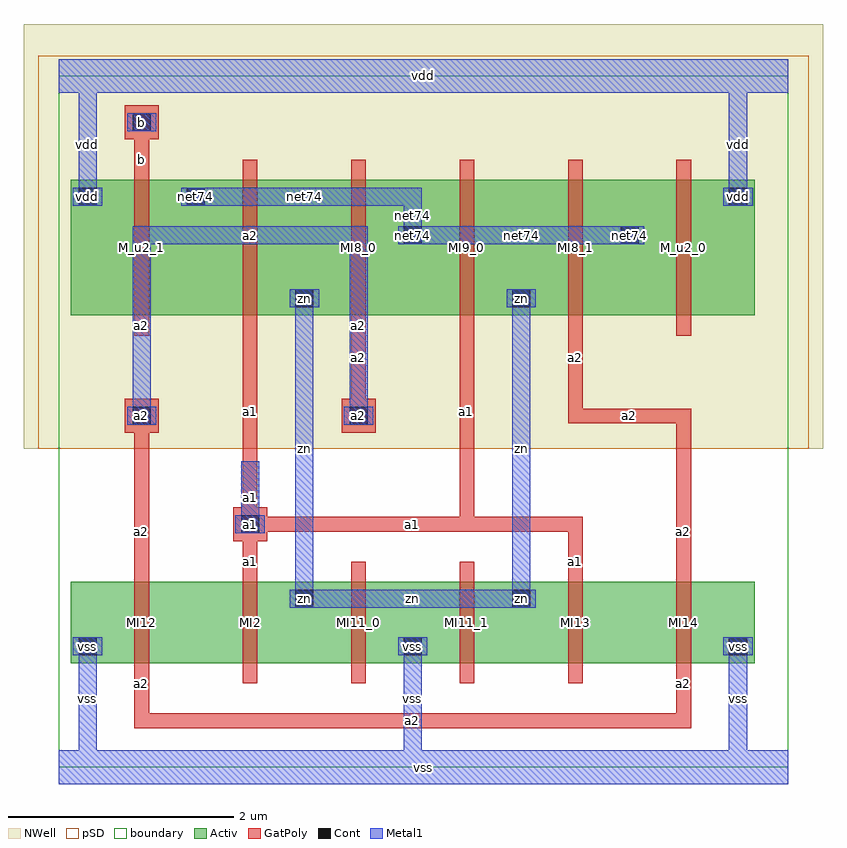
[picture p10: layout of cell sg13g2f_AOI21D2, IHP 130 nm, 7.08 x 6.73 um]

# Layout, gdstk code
import gdstk
lib = gdstk.Library(unit=1e-6, precision=1e-09)
def R(c, l, rs):  # rectangles x0, y0, x1, y1
    for r in rs: c.add(gdstk.rectangle(r[:2], r[2:], *l))
def A(c, l, x, y, w, h, nx, ny, dx, dy):  # array of equal rectangles
    R(c, l, [(x+i*dx, y+j*dy, x+i*dx+w, y+j*dy+h) for i in range(nx) for j in range(ny)])
Activ = (1, 0)
GatPoly = (5, 0)
Cont = (6, 0)
Metal1 = (8, 0)
pSD = (14, 0)
NWell = (31, 0)
TEXT = (63, 0)
boundary = (189, 4)

sg13g2f_aoi21d2 = lib.new_cell('sg13g2f_AOI21D2')
A(sg13g2f_aoi21d2, Activ, 0.105, 0.92, 1.26, 0.72, 6, 1, 0.96, 0)
A(sg13g2f_aoi21d2, Activ, 0.105, 0.92, 0.3, 0.3, 3, 1, 2.88, 0)
A(sg13g2f_aoi21d2, Activ, 0.105, 4, 1.26, 1.2, 6, 1, 0.96, 0)
R(sg13g2f_aoi21d2, Activ, [(2.025,1.34,2.325,1.64), (3.945,1.34,4.245,1.64), (2.025,4,2.325,4.3), (3.945,4,4.245,4.3), (2.985,4.56,3.285,4.86), (4.905,4.56,5.205,4.86), (0.105,4.9,0.405,5.2), (1.065,4.9,1.365,5.2), (5.865,4.9,6.165,5.2)])
A(sg13g2f_aoi21d2, GatPoly, 0.67, 0.74, 0.13, 1.08, 6, 1, 0.96, 0)
A(sg13g2f_aoi21d2, GatPoly, 0.67, 3.82, 0.13, 1.56, 6, 1, 0.96, 0)
R(sg13g2f_aoi21d2, GatPoly, [(0.67,0.345,0.8,1.135), (0.67,0.345,5.6,0.475), (5.47,0.345,5.6,1.135), (0.67,1.005,0.8,3.175), (5.47,1.005,5.6,3.175), (1.63,1.425,1.76,2.215), (4.51,1.425,4.64,2.215), (1.545,2,1.845,2.3), (1.63,2.085,4.64,2.215), (1.63,2.085,1.76,4.215), (3.55,2.085,3.68,4.215), (0.585,2.96,0.885,3.26), (2.505,2.96,2.805,3.26), (2.59,3.045,2.72,4.215), (4.51,3.045,4.64,4.215), (4.51,3.045,5.6,3.175), (0.67,4.985,0.8,5.775), (0.585,5.56,0.885,5.86)])
A(sg13g2f_aoi21d2, Cont, 0.175, 0.99, 0.16, 0.16, 3, 1, 2.88, 0)
R(sg13g2f_aoi21d2, Cont, [(2.095,1.41,2.255,1.57), (4.015,1.41,4.175,1.57), (1.615,2.07,1.775,2.23), (0.655,3.03,0.815,3.19), (2.575,3.03,2.735,3.19), (2.095,4.07,2.255,4.23), (4.015,4.07,4.175,4.23), (3.055,4.63,3.215,4.79), (4.975,4.63,5.135,4.79), (0.175,4.97,0.335,5.13), (1.135,4.97,1.295,5.13), (5.935,4.97,6.095,5.13), (0.655,5.63,0.815,5.79)])
A(sg13g2f_aoi21d2, Metal1, 0.175, 0.07, 0.16, 1.08, 3, 1, 2.88, 0)
A(sg13g2f_aoi21d2, Metal1, 0.125, 0.99, 0.26, 0.16, 3, 1, 2.88, 0)
R(sg13g2f_aoi21d2, Metal1, [(0,-0.15,6.46,0.15), (2.045,1.41,2.305,1.57), (2.095,1.41,4.175,1.57), (2.095,1.41,2.255,4.23), (3.965,1.41,4.225,1.57), (4.015,1.41,4.175,4.23), (1.565,2.07,1.825,2.23), (1.615,2.07,1.775,2.71), (0.605,3.03,0.865,3.19), (0.655,3.03,0.815,4.79), (2.525,3.03,2.785,3.19), (2.575,3.03,2.735,4.79), (2.045,4.07,2.305,4.23), (3.965,4.07,4.225,4.23), (0.655,4.63,2.735,4.79), (3.005,4.63,3.265,4.79), (3.055,4.63,5.135,4.79), (3.055,4.63,3.215,5.13), (4.925,4.63,5.185,4.79), (0.125,4.97,0.385,5.13), (0.175,4.97,0.335,6.05), (1.085,4.97,1.345,5.13), (1.135,4.97,3.215,5.13), (5.885,4.97,6.145,5.13), (5.935,4.97,6.095,6.05), (0.605,5.63,0.865,5.79), (0.655,5.63,0.815,5.79), (0,5.97,6.46,6.27)])
R(sg13g2f_aoi21d2, pSD, [(-0.18,2.82,6.64,5.94), (-0.18,5.94,6.64,6.3)])
R(sg13g2f_aoi21d2, NWell, [(-0.31,2.82,6.77,6.58)])
R(sg13g2f_aoi21d2, boundary, [(0,0,6.46,6.12)])
sg13g2f_aoi21d2.add(gdstk.FlexPath([(0.105,0.41),(6.165,0.41)], 0, ends="flush", simple_path=True, layer=63, datatype=0))  # TEXT
sg13g2f_aoi21d2.add(gdstk.FlexPath([(0.105,1.07),(6.165,1.07)], 0, ends="flush", simple_path=True, layer=63, datatype=0))  # TEXT
sg13g2f_aoi21d2.add(gdstk.FlexPath([(0.105,1.49),(6.165,1.49)], 0, ends="flush", simple_path=True, layer=63, datatype=0))  # TEXT
sg13g2f_aoi21d2.add(gdstk.FlexPath([(0.105,2.15),(6.165,2.15)], 0, ends="flush", simple_path=True, layer=63, datatype=0))  # TEXT
sg13g2f_aoi21d2.add(gdstk.FlexPath([(0.105,2.63),(6.165,2.63)], 0, ends="flush", simple_path=True, layer=63, datatype=0))  # TEXT
sg13g2f_aoi21d2.add(gdstk.FlexPath([(0.105,3.11),(6.165,3.11)], 0, ends="flush", simple_path=True, layer=63, datatype=0))  # TEXT
sg13g2f_aoi21d2.add(gdstk.FlexPath([(0.105,4.15),(6.165,4.15)], 0, ends="flush", simple_path=True, layer=63, datatype=0))  # TEXT
sg13g2f_aoi21d2.add(gdstk.FlexPath([(0.105,4.71),(6.165,4.71)], 0, ends="flush", simple_path=True, layer=63, datatype=0))  # TEXT
sg13g2f_aoi21d2.add(gdstk.FlexPath([(0.105,5.05),(6.165,5.05)], 0, ends="flush", simple_path=True, layer=63, datatype=0))  # TEXT
sg13g2f_aoi21d2.add(gdstk.FlexPath([(0.105,5.71),(6.165,5.71)], 0, ends="flush", simple_path=True, layer=63, datatype=0))  # TEXT
sg13g2f_aoi21d2.add(gdstk.FlexPath([(0.255,0.07),(0.255,6.05)], 0, ends="flush", simple_path=True, layer=63, datatype=0))  # TEXT
sg13g2f_aoi21d2.add(gdstk.FlexPath([(0.735,0.07),(0.735,6.05)], 0, ends="flush", simple_path=True, layer=63, datatype=0))  # TEXT
sg13g2f_aoi21d2.add(gdstk.FlexPath([(1.215,0.07),(1.215,6.05)], 0, ends="flush", simple_path=True, layer=63, datatype=0))  # TEXT
sg13g2f_aoi21d2.add(gdstk.FlexPath([(1.695,0.07),(1.695,6.05)], 0, ends="flush", simple_path=True, layer=63, datatype=0))  # TEXT
sg13g2f_aoi21d2.add(gdstk.FlexPath([(2.175,0.07),(2.175,6.05)], 0, ends="flush", simple_path=True, layer=63, datatype=0))  # TEXT
sg13g2f_aoi21d2.add(gdstk.FlexPath([(2.655,0.07),(2.655,6.05)], 0, ends="flush", simple_path=True, layer=63, datatype=0))  # TEXT
sg13g2f_aoi21d2.add(gdstk.FlexPath([(3.135,0.07),(3.135,6.05)], 0, ends="flush", simple_path=True, layer=63, datatype=0))  # TEXT
sg13g2f_aoi21d2.add(gdstk.FlexPath([(3.615,0.07),(3.615,6.05)], 0, ends="flush", simple_path=True, layer=63, datatype=0))  # TEXT
sg13g2f_aoi21d2.add(gdstk.FlexPath([(4.095,0.07),(4.095,6.05)], 0, ends="flush", simple_path=True, layer=63, datatype=0))  # TEXT
sg13g2f_aoi21d2.add(gdstk.FlexPath([(4.575,0.07),(4.575,6.05)], 0, ends="flush", simple_path=True, layer=63, datatype=0))  # TEXT
sg13g2f_aoi21d2.add(gdstk.FlexPath([(5.055,0.07),(5.055,6.05)], 0, ends="flush", simple_path=True, layer=63, datatype=0))  # TEXT
sg13g2f_aoi21d2.add(gdstk.FlexPath([(5.535,0.07),(5.535,6.05)], 0, ends="flush", simple_path=True, layer=63, datatype=0))  # TEXT
sg13g2f_aoi21d2.add(gdstk.FlexPath([(6.015,0.07),(6.015,6.05)], 0, ends="flush", simple_path=True, layer=63, datatype=0))  # TEXT
sg13g2f_aoi21d2.add(gdstk.Label('zn', (2.175,1.49), layer=6, texttype=0))
sg13g2f_aoi21d2.add(gdstk.Label('zn', (4.095,1.49), layer=6, texttype=0))
sg13g2f_aoi21d2.add(gdstk.Label('zn', (2.175,4.15), layer=6, texttype=0))
sg13g2f_aoi21d2.add(gdstk.Label('zn', (4.095,4.15), layer=6, texttype=0))
sg13g2f_aoi21d2.add(gdstk.Label('a1', (1.695,2.15), layer=6, texttype=0))
sg13g2f_aoi21d2.add(gdstk.Label('a2', (0.735,3.11), layer=6, texttype=0))
sg13g2f_aoi21d2.add(gdstk.Label('a2', (2.655,3.11), layer=6, texttype=0))
sg13g2f_aoi21d2.add(gdstk.Label('b', (0.735,5.71), layer=6, texttype=0))
sg13g2f_aoi21d2.add(gdstk.Label('net74', (3.135,4.71), layer=6, texttype=0))
sg13g2f_aoi21d2.add(gdstk.Label('net74', (5.055,4.71), layer=6, texttype=0))
sg13g2f_aoi21d2.add(gdstk.Label('net74', (1.215,5.05), layer=6, texttype=0))
sg13g2f_aoi21d2.add(gdstk.Label('vss', (0.255,1.07), layer=6, texttype=0))
sg13g2f_aoi21d2.add(gdstk.Label('vss', (6.015,1.07), layer=6, texttype=0))
sg13g2f_aoi21d2.add(gdstk.Label('vss', (3.135,1.07), layer=6, texttype=0))
sg13g2f_aoi21d2.add(gdstk.Label('vdd', (6.015,5.05), layer=6, texttype=0))
sg13g2f_aoi21d2.add(gdstk.Label('vdd', (0.255,5.05), layer=6, texttype=0))
sg13g2f_aoi21d2.add(gdstk.Label('net74', (3.135,4.71), layer=8, texttype=0))
sg13g2f_aoi21d2.add(gdstk.Label('net74', (5.055,4.71), layer=8, texttype=0))
sg13g2f_aoi21d2.add(gdstk.Label('net74', (1.215,5.05), layer=8, texttype=0))
sg13g2f_aoi21d2.add(gdstk.Label('net74', (4.095,4.71), layer=8, texttype=0))
sg13g2f_aoi21d2.add(gdstk.Label('net74', (3.135,4.88), layer=8, texttype=0))
sg13g2f_aoi21d2.add(gdstk.Label('net74', (2.175,5.05), layer=8, texttype=0))
sg13g2f_aoi21d2.add(gdstk.Label('vss', (0.255,1.07), layer=8, texttype=0))
sg13g2f_aoi21d2.add(gdstk.Label('vss', (0.255,0.61), layer=8, texttype=0))
sg13g2f_aoi21d2.add(gdstk.Label('vss', (6.015,1.07), layer=8, texttype=0))
sg13g2f_aoi21d2.add(gdstk.Label('vss', (6.015,0.61), layer=8, texttype=0))
sg13g2f_aoi21d2.add(gdstk.Label('vss', (3.135,1.07), layer=8, texttype=0))
sg13g2f_aoi21d2.add(gdstk.Label('vss', (3.135,0.61), layer=8, texttype=0))
sg13g2f_aoi21d2.add(gdstk.Label('vdd', (6.015,5.05), layer=8, texttype=0))
sg13g2f_aoi21d2.add(gdstk.Label('vdd', (6.015,5.51), layer=8, texttype=0))
sg13g2f_aoi21d2.add(gdstk.Label('vdd', (0.255,5.05), layer=8, texttype=0))
sg13g2f_aoi21d2.add(gdstk.Label('vdd', (0.255,5.51), layer=8, texttype=0))
sg13g2f_aoi21d2.add(gdstk.Label('zn', (2.175,1.49), layer=8, texttype=2))
sg13g2f_aoi21d2.add(gdstk.Label('zn', (4.095,1.49), layer=8, texttype=2))
sg13g2f_aoi21d2.add(gdstk.Label('zn', (2.175,4.15), layer=8, texttype=2))
sg13g2f_aoi21d2.add(gdstk.Label('zn', (4.095,4.15), layer=8, texttype=2))
sg13g2f_aoi21d2.add(gdstk.Label('zn', (3.135,1.49), layer=8, texttype=2))
sg13g2f_aoi21d2.add(gdstk.Label('zn', (2.175,2.82), layer=8, texttype=2))
sg13g2f_aoi21d2.add(gdstk.Label('zn', (4.095,2.82), layer=8, texttype=2))
sg13g2f_aoi21d2.add(gdstk.Label('a1', (1.695,2.15), layer=8, texttype=2))
sg13g2f_aoi21d2.add(gdstk.Label('a1', (1.695,2.39), layer=8, texttype=2))
sg13g2f_aoi21d2.add(gdstk.Label('a2', (0.735,3.11), layer=8, texttype=2))
sg13g2f_aoi21d2.add(gdstk.Label('a2', (0.735,3.91), layer=8, texttype=2))
sg13g2f_aoi21d2.add(gdstk.Label('a2', (1.695,4.71), layer=8, texttype=2))
sg13g2f_aoi21d2.add(gdstk.Label('a2', (2.655,3.91), layer=8, texttype=2))
sg13g2f_aoi21d2.add(gdstk.Label('a2', (2.655,3.11), layer=8, texttype=2))
sg13g2f_aoi21d2.add(gdstk.Label('b', (0.735,5.71), layer=8, texttype=2))
sg13g2f_aoi21d2.add(gdstk.Label('b', (0.735,5.71), layer=8, texttype=2))
sg13g2f_aoi21d2.add(gdstk.Label('vss', (3.23,0), layer=8, texttype=2))
sg13g2f_aoi21d2.add(gdstk.Label('vdd', (3.23,6.12), layer=8, texttype=2))
sg13g2f_aoi21d2.add(gdstk.Label('zn', (2.175,1.49), layer=8, texttype=2))
sg13g2f_aoi21d2.add(gdstk.Label('zn', (4.095,1.49), layer=8, texttype=2))
sg13g2f_aoi21d2.add(gdstk.Label('zn', (2.175,4.15), layer=8, texttype=2))
sg13g2f_aoi21d2.add(gdstk.Label('zn', (4.095,4.15), layer=8, texttype=2))
sg13g2f_aoi21d2.add(gdstk.Label('zn', (3.135,1.49), layer=8, texttype=2))
sg13g2f_aoi21d2.add(gdstk.Label('zn', (2.175,2.82), layer=8, texttype=2))
sg13g2f_aoi21d2.add(gdstk.Label('zn', (4.095,2.82), layer=8, texttype=2))
sg13g2f_aoi21d2.add(gdstk.Label('a1', (1.695,2.15), layer=8, texttype=2))
sg13g2f_aoi21d2.add(gdstk.Label('a1', (1.695,2.39), layer=8, texttype=2))
sg13g2f_aoi21d2.add(gdstk.Label('a2', (0.735,3.11), layer=8, texttype=2))
sg13g2f_aoi21d2.add(gdstk.Label('a2', (0.735,3.91), layer=8, texttype=2))
sg13g2f_aoi21d2.add(gdstk.Label('a2', (1.695,4.71), layer=8, texttype=2))
sg13g2f_aoi21d2.add(gdstk.Label('a2', (2.655,3.91), layer=8, texttype=2))
sg13g2f_aoi21d2.add(gdstk.Label('a2', (2.655,3.11), layer=8, texttype=2))
sg13g2f_aoi21d2.add(gdstk.Label('b', (0.735,5.71), layer=8, texttype=2))
sg13g2f_aoi21d2.add(gdstk.Label('b', (0.735,5.71), layer=8, texttype=2))
sg13g2f_aoi21d2.add(gdstk.Label('vss', (3.23,0), layer=8, texttype=2))
sg13g2f_aoi21d2.add(gdstk.Label('vdd', (3.23,6.12), layer=8, texttype=2))
sg13g2f_aoi21d2.add(gdstk.Label('MI2', (1.695,1.28), layer=1, texttype=0))
sg13g2f_aoi21d2.add(gdstk.Label('MI12', (0.735,1.28), layer=1, texttype=0))
sg13g2f_aoi21d2.add(gdstk.Label('MI13', (4.575,1.28), layer=1, texttype=0))
sg13g2f_aoi21d2.add(gdstk.Label('MI14', (5.535,1.28), layer=1, texttype=0))
sg13g2f_aoi21d2.add(gdstk.Label('MI11_0', (2.655,1.28), layer=1, texttype=0))
sg13g2f_aoi21d2.add(gdstk.Label('MI11_1', (3.615,1.28), layer=1, texttype=0))
sg13g2f_aoi21d2.add(gdstk.Label('MI8_0', (2.655,4.6), layer=1, texttype=0))
sg13g2f_aoi21d2.add(gdstk.Label('MI8_1', (4.575,4.6), layer=1, texttype=0))
sg13g2f_aoi21d2.add(gdstk.Label('M_u2_0', (5.535,4.6), layer=1, texttype=0))
sg13g2f_aoi21d2.add(gdstk.Label('M_u2_1', (0.735,4.6), layer=1, texttype=0))
sg13g2f_aoi21d2.add(gdstk.Label('MI9_0', (3.615,4.6), layer=1, texttype=0))
sg13g2f_aoi21d2.add(gdstk.Label('MI9_1', (1.695,4.6), layer=1, texttype=0))
sg13g2f_aoi21d2.add(gdstk.Label('zn', (2.175,1.49), layer=1, texttype=0))
sg13g2f_aoi21d2.add(gdstk.Label('zn', (4.095,1.49), layer=1, texttype=0))
sg13g2f_aoi21d2.add(gdstk.Label('zn', (2.175,4.15), layer=1, texttype=0))
sg13g2f_aoi21d2.add(gdstk.Label('zn', (4.095,4.15), layer=1, texttype=0))
sg13g2f_aoi21d2.add(gdstk.Label('net74', (3.135,4.71), layer=1, texttype=0))
sg13g2f_aoi21d2.add(gdstk.Label('net74', (5.055,4.71), layer=1, texttype=0))
sg13g2f_aoi21d2.add(gdstk.Label('net74', (1.215,5.05), layer=1, texttype=0))
sg13g2f_aoi21d2.add(gdstk.Label('vss', (0.255,1.07), layer=1, texttype=0))
sg13g2f_aoi21d2.add(gdstk.Label('vss', (6.015,1.07), layer=1, texttype=0))
sg13g2f_aoi21d2.add(gdstk.Label('vss', (3.135,1.07), layer=1, texttype=0))
sg13g2f_aoi21d2.add(gdstk.Label('vdd', (6.015,5.05), layer=1, texttype=0))
sg13g2f_aoi21d2.add(gdstk.Label('vdd', (0.255,5.05), layer=1, texttype=0))
sg13g2f_aoi21d2.add(gdstk.Label('zn', (2.175,1.49), layer=8, texttype=25))
sg13g2f_aoi21d2.add(gdstk.Label('zn', (4.095,1.49), layer=8, texttype=25))
sg13g2f_aoi21d2.add(gdstk.Label('zn', (2.175,4.15), layer=8, texttype=25))
sg13g2f_aoi21d2.add(gdstk.Label('zn', (4.095,4.15), layer=8, texttype=25))
sg13g2f_aoi21d2.add(gdstk.Label('zn', (3.135,1.49), layer=8, texttype=25))
sg13g2f_aoi21d2.add(gdstk.Label('zn', (2.175,2.82), layer=8, texttype=25))
sg13g2f_aoi21d2.add(gdstk.Label('zn', (4.095,2.82), layer=8, texttype=25))
sg13g2f_aoi21d2.add(gdstk.Label('a1', (1.695,2.15), layer=8, texttype=25))
sg13g2f_aoi21d2.add(gdstk.Label('a1', (1.695,2.39), layer=8, texttype=25))
sg13g2f_aoi21d2.add(gdstk.Label('a2', (0.735,3.11), layer=8, texttype=25))
sg13g2f_aoi21d2.add(gdstk.Label('a2', (0.735,3.91), layer=8, texttype=25))
sg13g2f_aoi21d2.add(gdstk.Label('a2', (1.695,4.71), layer=8, texttype=25))
sg13g2f_aoi21d2.add(gdstk.Label('a2', (2.655,3.91), layer=8, texttype=25))
sg13g2f_aoi21d2.add(gdstk.Label('a2', (2.655,3.11), layer=8, texttype=25))
sg13g2f_aoi21d2.add(gdstk.Label('b', (0.735,5.71), layer=8, texttype=25))
sg13g2f_aoi21d2.add(gdstk.Label('b', (0.735,5.71), layer=8, texttype=25))
sg13g2f_aoi21d2.add(gdstk.Label('vss', (3.23,0), layer=8, texttype=25))
sg13g2f_aoi21d2.add(gdstk.Label('vdd', (3.23,6.12), layer=8, texttype=25))
sg13g2f_aoi21d2.add(gdstk.Label('a1', (1.695,1.82), layer=5, texttype=0))
sg13g2f_aoi21d2.add(gdstk.Label('a1', (3.135,2.15), layer=5, texttype=0))
sg13g2f_aoi21d2.add(gdstk.Label('a1', (4.575,1.82), layer=5, texttype=0))
sg13g2f_aoi21d2.add(gdstk.Label('a1', (3.615,3.15), layer=5, texttype=0))
sg13g2f_aoi21d2.add(gdstk.Label('a1', (1.695,3.15), layer=5, texttype=0))
sg13g2f_aoi21d2.add(gdstk.Label('a1', (1.695,2.15), layer=5, texttype=0))
sg13g2f_aoi21d2.add(gdstk.Label('a2', (0.735,0.74), layer=5, texttype=0))
sg13g2f_aoi21d2.add(gdstk.Label('a2', (3.135,0.41), layer=5, texttype=0))
sg13g2f_aoi21d2.add(gdstk.Label('a2', (5.535,0.74), layer=5, texttype=0))
sg13g2f_aoi21d2.add(gdstk.Label('a2', (0.735,2.09), layer=5, texttype=0))
sg13g2f_aoi21d2.add(gdstk.Label('a2', (0.735,3.11), layer=5, texttype=0))
sg13g2f_aoi21d2.add(gdstk.Label('a2', (2.655,3.11), layer=5, texttype=0))
sg13g2f_aoi21d2.add(gdstk.Label('a2', (2.655,3.63), layer=5, texttype=0))
sg13g2f_aoi21d2.add(gdstk.Label('a2', (5.535,2.09), layer=5, texttype=0))
sg13g2f_aoi21d2.add(gdstk.Label('a2', (5.055,3.11), layer=5, texttype=0))
sg13g2f_aoi21d2.add(gdstk.Label('a2', (4.575,3.63), layer=5, texttype=0))
sg13g2f_aoi21d2.add(gdstk.Label('b', (0.735,5.38), layer=5, texttype=0))
sg13g2f_aoi21d2.add(gdstk.Label('b', (0.735,5.71), layer=5, texttype=0))

lib.write_gds('sg13g2f_AOI21D2.gds')
